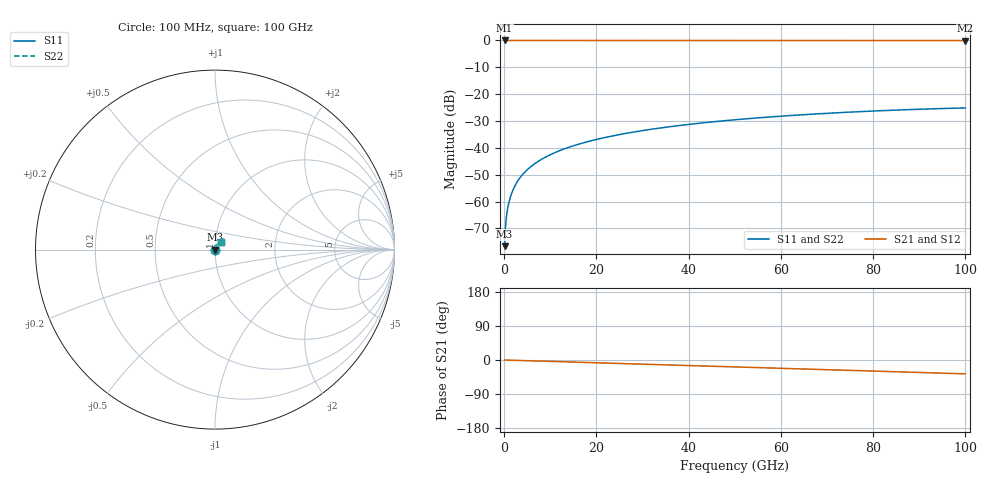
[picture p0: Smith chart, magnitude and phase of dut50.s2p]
! Touchstone file exported from HFSS 2026.1.0
!  File:  C:/ffzhzh/LocalFiles/Ansys_Project_Files/temp_train_TSV_50_1783504931_55944.aedt
!  Generated:  06:03:26 PM Jul  8, 2026
!  Design:  TSV
!  Project:  temp_train_TSV_50_1783504931_55944
! Variables:
!  h_bsmrdl = 2um
!  h_ox = 20um
!  h_rdl = 5um
!  h_sub = 69.81um
!  h_tmrdl = 5um
!  h_tsv = 69.81um
!  h_via = 3um
!  l_bsmrdl = 300um
!  l_sub = 421.82um
!  l_tmrdl = 200um
!  m_sub = 200um
!  pitch = 49.42um
!  r_tsv = 10.91um
!  s_tmrdl = 10um
!  w_bsmrdl = 18um
!  w_sub = 500um
!  w_tmrdl = 12um
!  x_tsv_center1 = 206um
!  x_tsv_center2 = 524um
!  x_tsv_center3 = 736um
!  x_tsv_center4 = 1054um
!  x_tsv_center5 = 1266um
!  x_tsv_center6 = 1584um
# GHz S MA R 50.000000
! Terminal data exported
! Port[1] = TSV1_1_T1
! Port[2] = TSV1_1_T2
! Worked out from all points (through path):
!   1000 points, 100 MHz to 100 GHz, reference 50 ohm
!   highest |S21| = 0.00 dB at 100 MHz (marker M1); lowest = 0.0 dB at 100 GHz (marker M2)
!   group delay of S21, straight-line fit = 1.01 ps
!   lowest |S11| = -76.6 dB at 100 MHz (marker M3), VSWR 1.00, Z = 50 + j0.0108 ohm
!   |S11| at or under -10 dB: start of sweep to end of sweep
!   |S22| runs from -76.6 to -25.1 dB; largest |S21 - S12| = 3.6e-15
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0.1  0.0001475 47.3  0.9999 -0.0  0.9999 -0.0  0.0001475 47.3
! Gamma 0 0 0 0
! Port Impedance 50 0 50 0
0.4  0.0004325 70.1  0.9999 -0.2  0.9999 -0.2  0.0004325 70.1
0.7  0.0006925 73.1  0.9998 -0.3  0.9998 -0.3  0.0006925 73.1
0.8  0.000774 73.7  0.9998 -0.3  0.9998 -0.3  0.000774 73.7
1  0.0009331 74.8  0.9998 -0.4  0.9998 -0.4  0.0009331 74.8
1.3  0.001167 76.1  0.9997 -0.5  0.9997 -0.5  0.001167 76.1
1.8  0.001552 77.6  0.9997 -0.7  0.9997 -0.7  0.001552 77.6
2.4  0.002006 78.6  0.9996 -0.9  0.9996 -0.9  0.002006 78.6
3.1  0.002527 79.4  0.9996 -1.1  0.9996 -1.1  0.002527 79.4
3.9  0.003112 79.9  0.9995 -1.4  0.9995 -1.4  0.003112 79.9
4.9  0.003834 80.3  0.9995 -1.8  0.9995 -1.8  0.003834 80.3
6.1  0.004694 80.6  0.9994 -2.2  0.9994 -2.2  0.004694 80.6
8.9  0.006678 80.7  0.9993 -3.3  0.9993 -3.3  0.006678 80.7
12.4  0.009123 80.1  0.9991 -4.5  0.9991 -4.5  0.009123 80.1
16.8  0.01215 79.2  0.9989 -6.1  0.9989 -6.1  0.01215 79.2
24.2  0.01714 77.2  0.9987 -8.8  0.9987 -8.8  0.01714 77.2
33.4  0.02316 74.4  0.9983 -12.2  0.9983 -12.2  0.02316 74.4
41.2  0.02806 71.9  0.9981 -15.0  0.9981 -15.0  0.02806 71.9
50.1  0.03337 68.9  0.9977 -18.3  0.9977 -18.3  0.03337 68.9
66.7  0.04235 63.2  0.9971 -24.3  0.9971 -24.3  0.04235 63.1
83.4  0.04988 57.3  0.9965 -30.4  0.9965 -30.4  0.04988 57.3
100  0.05542 51.4  0.9959 -36.5  0.9959 -36.5  0.05542 51.4
